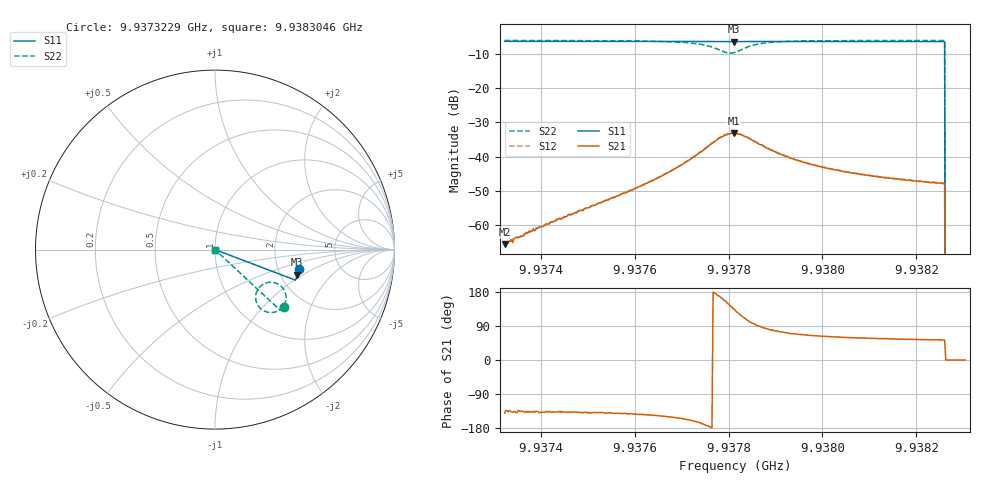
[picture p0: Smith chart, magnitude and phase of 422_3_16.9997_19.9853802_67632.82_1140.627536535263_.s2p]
#  HZ  S  RI  R  50.00
! Rohde & Schwarz Vector Network Analyzer
! Rohde-Schwarz,ZNB20-2Port,1311601062101988,3.16
! Created: UTC 3/20/2024, 11:11:00 PM
! freq[Hz]  re:S11  im:S11  re:S21  im:S21  re:S12  im:S12  re:S22  im:S22
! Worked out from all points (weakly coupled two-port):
!   401 points, 9.9373229 GHz to 9.9383046 GHz, reference 50 ohm
!   highest |S21| = -33.15 dB at 9.9378113 GHz (marker M1); lowest = -65.7 dB at 9.9373229 GHz (marker M2)
!   lowest |S11| = -6.4 dB at 9.9378113 GHz (marker M3), VSWR 2.84, Z = 123 - j44.8 ohm
!   |S11| at or under -10 dB: 9.9382604 GHz to end of sweep
!   |S22| runs from - to -6.1 dB; largest |S21 - S12| = 0.001
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9.93732285e9  0.4708 -0.1099  -0.000402 -0.000333  -0.000355 -0.000336  0.3828 -0.3183
9.93734003e9  0.4703 -0.1112  -0.000409 -0.000374  -0.000431 -0.000438  0.3813 -0.3196
9.93735721e9  0.47 -0.1124  -0.000496 -0.000481  -0.000499 -0.000482  0.3799 -0.3207
9.93736948e9  0.4698 -0.1131  -0.000552 -0.00055  -0.000539 -0.000534  0.3787 -0.3215
9.93748729e9  0.4673 -0.121  -0.00124 -0.00107  -0.00124 -0.0011  0.3674 -0.3312
9.93758791e9  0.465 -0.1278  -0.00246 -0.0019  -0.00251 -0.00189  0.3517 -0.3408
9.93765173e9  0.4634 -0.1322  -0.00417 -0.00271  -0.00426 -0.00267  0.334 -0.3474
9.93770327e9  0.4618 -0.1354  -0.00707 -0.0033  -0.00727 -0.00324  0.3077 -0.3506
9.9377499e9  0.46 -0.1385  -0.0128 -0.0019  -0.0131 -0.00195  0.2618 -0.335
9.93778671e9  0.4583 -0.1402  -0.0187 0.00605  -0.0188 0.00664  0.2265 -0.2633
9.93779898e9  0.4578 -0.1403  -0.0182 0.0111  -0.0182 0.0119  0.2371 -0.2248
9.93781125e9  0.4577 -0.1405  -0.0154 0.0157  -0.0151 0.0163  0.2668 -0.1939
9.93781371e9  0.4579 -0.1406  -0.0146 0.0162  -0.0142 0.0171  0.2743 -0.19
9.93783089e9  0.4581 -0.1413  -0.00788 0.0186  -0.00764 0.019  0.3274 -0.1832
9.9378677e9  0.4585 -0.1437  0.000428 0.0149  0.000837 0.015  0.3859 -0.2267
9.93790697e9  0.4577 -0.147  0.00286 0.0106  0.00311 0.0108  0.3958 -0.265
9.93797814e9  0.4562 -0.1519  0.00328 0.00685  0.00344 0.00689  0.3899 -0.2986
9.93804686e9  0.4545 -0.1565  0.00303 0.00517  0.00317 0.00517  0.3823 -0.3146
9.93814258e9  0.4518 -0.1627  0.00269 0.00397  0.00281 0.00399  0.3731 -0.3276
9.93825548e9  0.4487 -0.1701  0.00243 0.0032  0.00254 0.00323  0.3641 -0.3384
9.93826775e9  0 0  0 0  0 0  0 0
9.93830456e9  0 0  0 0  0 0  0 0
